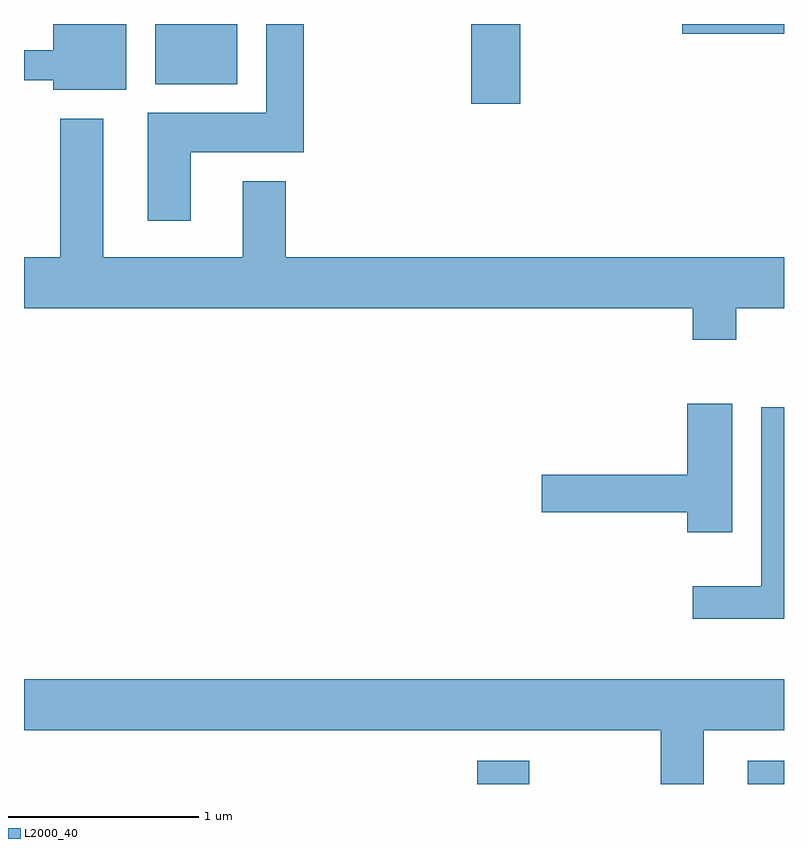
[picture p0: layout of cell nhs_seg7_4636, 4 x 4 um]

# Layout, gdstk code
import gdstk
lib = gdstk.Library(unit=1e-6, precision=1e-09)
def R(c, l, rs):  # rectangles x0, y0, x1, y1
    for r in rs: c.add(gdstk.rectangle(r[:2], r[2:], *l))
def P(c, l, *ps):  # polygons
    for p in ps: c.add(gdstk.Polygon(p, *l))
L2000_40 = (2000, 40)

nhs_seg7_4636 = lib.new_cell('nhs_seg7_4636')
R(nhs_seg7_4636, L2000_40, [(329.996,1716.252,330.269,1716.374), (331.421,1716.252,331.611,1716.374), (329.966,1719.831,330.224,1720.252), (328.301,1719.936,328.734,1720.252), (331.076,1720.201,331.611,1720.252)])
P(nhs_seg7_4636, L2000_40, [(328.149,1720.252),(327.766,1720.252),(327.766,1720.114),(327.611,1720.114),(327.611,1719.956),(327.766,1719.956),(327.766,1719.906),(328.149,1719.906)],
  [(328.489,1719.576),(329.084,1719.576),(329.084,1720.252),(328.886,1720.252),(328.886,1719.784),(328.261,1719.784),(328.261,1719.216),(328.489,1719.216)],
  [(331.359,1718.756),(331.611,1718.756),(331.611,1719.024),(328.989,1719.024),(328.989,1719.424),(328.761,1719.424),(328.761,1719.024),(328.029,1719.024),(328.029,1719.754),(327.801,1719.754),(327.801,1719.024),(327.611,1719.024),(327.611,1718.756),(331.131,1718.756),(331.131,1718.591),(331.359,1718.591)],
  [(331.339,1718.254),(331.101,1718.254),(331.101,1717.879),(330.336,1717.879),(330.336,1717.681),(331.101,1717.681),(331.101,1717.576),(331.339,1717.576)],
  [(331.611,1718.234),(331.491,1718.234),(331.491,1717.294),(331.131,1717.294),(331.131,1717.121),(331.611,1717.121)],
  [(331.189,1716.536),(331.611,1716.536),(331.611,1716.804),(327.611,1716.804),(327.611,1716.536),(330.961,1716.536),(330.961,1716.252),(331.189,1716.252)])

lib.write_gds('nhs_seg7_4636.gds')
